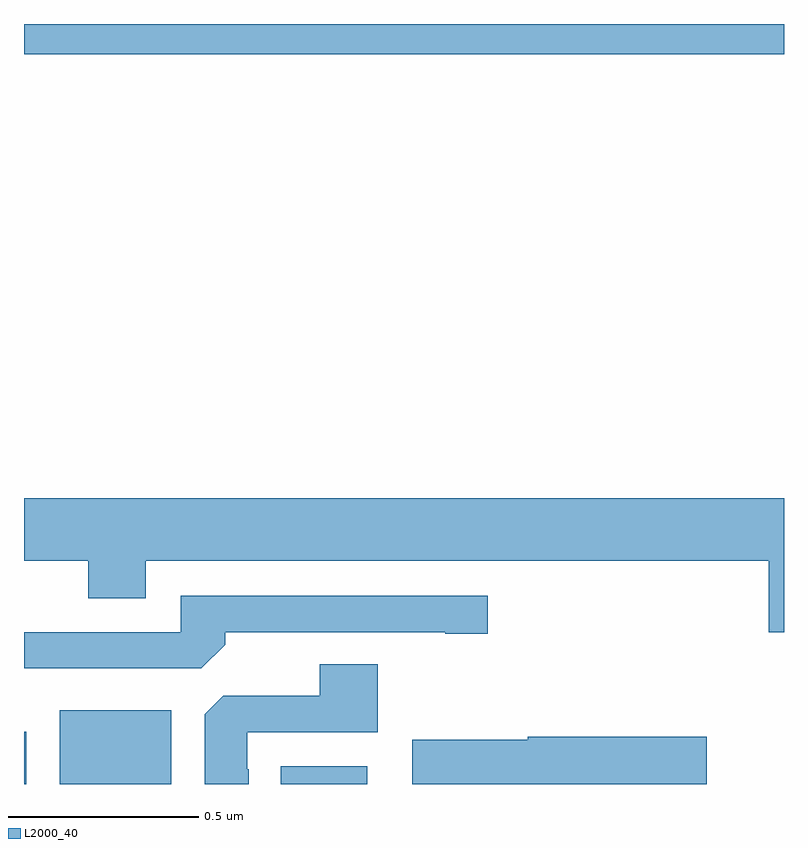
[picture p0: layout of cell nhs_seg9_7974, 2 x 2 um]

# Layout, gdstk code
import gdstk
lib = gdstk.Library(unit=1e-6, precision=1e-09)
def R(c, l, rs):  # rectangles x0, y0, x1, y1
    for r in rs: c.add(gdstk.rectangle(r[:2], r[2:], *l))
def P(c, l, *ps):  # polygons
    for p in ps: c.add(gdstk.Polygon(p, *l))
L2000_40 = (2000, 40)

nhs_seg9_7974 = lib.new_cell('nhs_seg9_7974')
R(nhs_seg9_7974, L2000_40, [(211,1194.5,211.006,1194.637), (211.094,1194.5,211.387,1194.694), (211.676,1194.5,211.903,1194.547), (211,1196.42,213,1196.5)])
P(nhs_seg9_7974, L2000_40, [(213,1195.252),(211,1195.252),(211,1195.088),(211.169,1195.088),(211.169,1194.989),(211.321,1194.989),(211.321,1195.088),(212.96,1195.088),(212.96,1194.9),(213,1194.9)],
  [(211.529,1194.866),(211.529,1194.9),(212.108,1194.9),(212.108,1194.895),(212.221,1194.895),(212.221,1194.996),(211.413,1194.996),(211.413,1194.9),(211,1194.9),(211,1194.804),(211.467,1194.804)],
  [(211.591,1194.539),(211.587,1194.539),(211.587,1194.636),(211.931,1194.636),(211.931,1194.815),(211.778,1194.815),(211.778,1194.732),(211.524,1194.732),(211.475,1194.683),(211.475,1194.5),(211.591,1194.5)],
  [(212.797,1194.624),(212.325,1194.624),(212.325,1194.616),(212.022,1194.616),(212.022,1194.5),(212.797,1194.5)])

lib.write_gds('nhs_seg9_7974.gds')
